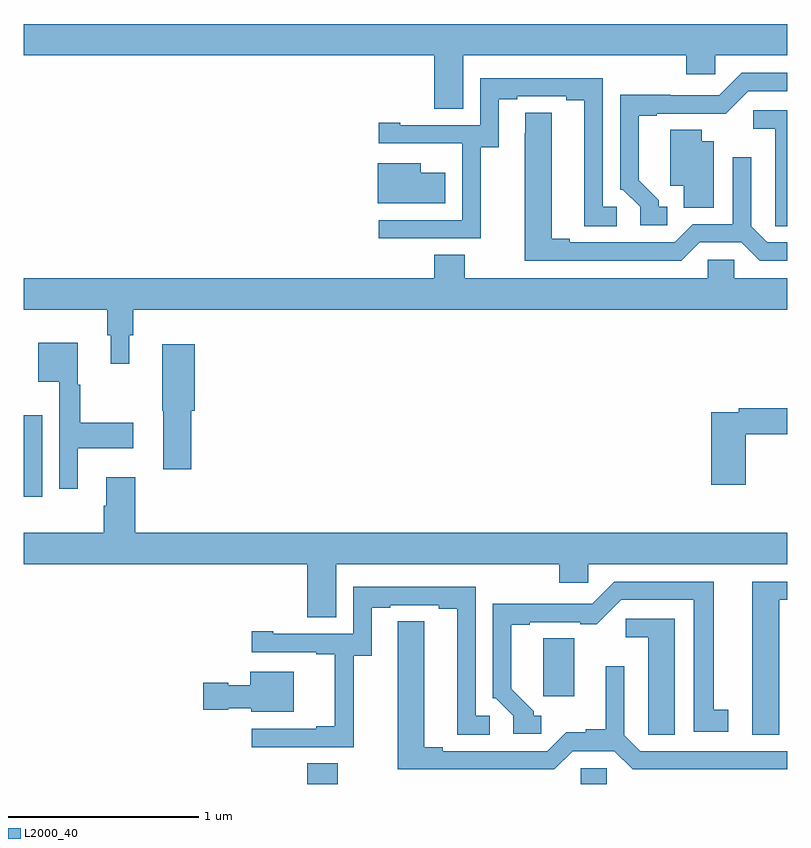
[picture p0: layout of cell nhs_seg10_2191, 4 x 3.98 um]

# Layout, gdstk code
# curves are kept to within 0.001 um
import gdstk
lib = gdstk.Library(unit=1e-6, precision=1e-09)
def R(c, l, rs):  # rectangles x0, y0, x1, y1
    for r in rs: c.add(gdstk.rectangle(r[:2], r[2:], *l))
def P(c, l, *ps):  # polygons
    for p in ps: c.add(gdstk.Polygon(p, *l))
L2000_40 = (2000, 40)

nhs_seg10_2191 = lib.new_cell('nhs_seg10_2191')
R(nhs_seg10_2191, L2000_40, [(228.485,1296.5,228.645,1296.608), (229.917,1296.5,230.055,1296.582), (227,1298.004,227.097,1298.431)])
P(nhs_seg10_2191, L2000_40, [(229.303,1300.316),(230.471,1300.316),(230.471,1300.218),(230.622,1300.218),(230.622,1300.316),(231,1300.316),(231,1300.48),(227,1300.48),(227,1300.316),(229.151,1300.316),(229.151,1300.036),(229.303,1300.036)],
  [(230.371,1299.522),(230.326,1299.522),(230.326,1299.557),(230.221,1299.662),(230.221,1299.999),(230.317,1299.999),(230.317,1300.011),(230.678,1300.01),(230.796,1300.128),(231,1300.128),(231,1300.224),(230.76,1300.224),(230.643,1300.107),(230.387,1300.107),(230.387,1300.109),(230.124,1300.109),(230.124,1299.612),(230.139,1299.612),(230.229,1299.522),(230.229,1299.426),(230.371,1299.426)],
  [(229.395,1299.835),(229.489,1299.835),(229.489,1300.086),(229.585,1300.086),(229.585,1300.101),(229.841,1300.101),(229.841,1300.081),(229.937,1300.081),(229.937,1299.421),(230.107,1299.421),(230.107,1299.522),(230.034,1299.522),(230.034,1300.197),(229.392,1300.197),(229.392,1299.951),(228.973,1299.951),(228.973,1299.964),(228.861,1299.964),(228.861,1299.855),(229.295,1299.855),(229.295,1299.854),(229.296,1299.854),(229.296,1299.453),(228.861,1299.453),(228.861,1299.357),(229.395,1299.357)],
  [(231,1300.029),(230.82,1300.029),(230.82,1299.932),(230.936,1299.932),(230.936,1299.529),(230.937,1299.529),(230.937,1299.421),(231,1299.421)],
  [(230.541,1299.336),(230.759,1299.336),(230.855,1299.24),(231,1299.24),(231,1299.336),(230.895,1299.336),(230.811,1299.42),(230.811,1299.781),(230.715,1299.781),(230.715,1299.432),(230.505,1299.432),(230.409,1299.336),(229.861,1299.336),(229.861,1299.356),(229.765,1299.356),(229.765,1300.016),(229.626,1300.016),(229.625,1299.24),(230.445,1299.24)],
  [(230.614,1299.865),(230.551,1299.865),(230.551,1299.926),(230.387,1299.926),(230.387,1299.632),(230.456,1299.632),(230.456,1299.517),(230.614,1299.517)],
  [(229.207,1299.7),(229.081,1299.7),(229.081,1299.751),(228.854,1299.751),(228.854,1299.542),(229.207,1299.542)],
  [(227.554,1298.85),(227.573,1298.85),(227.573,1298.984),(231,1298.984),(231,1299.148),(230.721,1299.148),(230.721,1299.246),(230.583,1299.246),(230.583,1299.148),(229.311,1299.148),(229.311,1299.272),(229.151,1299.272),(229.151,1299.148),(227,1299.148),(227,1298.984),(227.437,1298.984),(227.437,1298.85),(227.456,1298.85),(227.456,1298.7),(227.554,1298.7)],
  [(227.284,1298.258),(227.575,1298.258),(227.575,1298.393),(227.296,1298.393),(227.296,1298.592),(227.284,1298.592),(227.284,1298.812),(227.078,1298.812),(227.078,1298.606),(227.187,1298.606),(227.187,1298.046),(227.284,1298.046)],
  [(227.879,1298.454),(227.897,1298.454),(227.897,1298.803),(227.726,1298.803),(227.726,1298.454),(227.732,1298.454),(227.732,1298.148),(227.879,1298.148)],
  [(230.783,1298.332),(231,1298.332),(231,1298.468),(230.746,1298.468),(230.746,1298.448),(230.6,1298.448),(230.6,1298.067),(230.783,1298.067)],
  [(228.637,1297.652),(229.805,1297.652),(229.805,1297.554),(229.956,1297.554),(229.956,1297.652),(231,1297.652),(231,1297.816),(227.585,1297.816),(227.585,1298.107),(227.432,1298.107),(227.432,1297.958),(227.42,1297.958),(227.42,1297.816),(227,1297.816),(227,1297.652),(228.485,1297.652),(228.485,1297.372),(228.637,1297.372)],
  [(230.956,1297.464),(231,1297.464),(231,1297.56),(230.816,1297.56),(230.816,1296.759),(230.956,1296.759)],
  [(229.711,1296.858),(229.672,1296.858),(229.672,1296.882),(229.555,1296.998),(229.555,1297.335),(229.651,1297.335),(229.651,1297.347),(229.916,1297.347),(229.916,1297.336),(230.002,1297.336),(230.13,1297.464),(230.51,1297.464),(230.51,1296.774),(230.689,1296.774),(230.689,1296.89),(230.614,1296.89),(230.614,1297.56),(230.094,1297.56),(229.977,1297.443),(229.721,1297.443),(229.721,1297.445),(229.458,1297.445),(229.458,1296.948),(229.473,1296.948),(229.563,1296.858),(229.563,1296.762),(229.711,1296.762)],
  [(228.729,1297.171),(228.823,1297.171),(228.823,1297.422),(228.919,1297.422),(228.919,1297.437),(229.175,1297.437),(229.175,1297.417),(229.271,1297.417),(229.271,1296.757),(229.441,1296.757),(229.441,1296.858),(229.368,1296.858),(229.368,1297.533),(228.726,1297.533),(228.726,1297.287),(228.307,1297.287),(228.307,1297.3),(228.195,1297.3),(228.195,1297.191),(228.533,1297.191),(228.533,1297.179),(228.629,1297.179),(228.629,1296.802),(228.533,1296.802),(228.533,1296.789),(228.195,1296.789),(228.195,1296.693),(228.729,1296.693)],
  [(230.41,1297.365),(230.154,1297.365),(230.154,1297.268),(230.27,1297.268),(230.27,1296.865),(230.271,1296.865),(230.271,1296.757),(230.41,1296.757)],
  [(229.875,1296.672),(230.093,1296.672),(230.189,1296.576),(231,1296.576),(231,1296.672),(230.229,1296.672),(230.145,1296.756),(230.145,1297.117),(230.048,1297.117),(230.048,1296.788),(229.944,1296.788),(229.944,1296.77),(229.841,1296.77),(229.743,1296.672),(229.195,1296.672),(229.195,1296.692),(229.099,1296.692),(229.099,1297.352),(228.96,1297.352),(228.959,1296.576),(229.779,1296.576)],
  [(229.885,1297.104),(229.884,1297.104),(229.884,1297.262),(229.721,1297.262),(229.721,1296.96),(229.885,1296.96)],
  [(228.415,1297.087),(228.188,1297.087),(228.188,1297.018),(228.072,1297.018),(228.072,1297.031),(227.94,1297.031),(227.94,1296.889),(228.072,1296.889),(228.072,1296.896),(228.192,1296.896),(228.192,1296.878),(228.415,1296.878)])

lib.write_gds('nhs_seg10_2191.gds')
